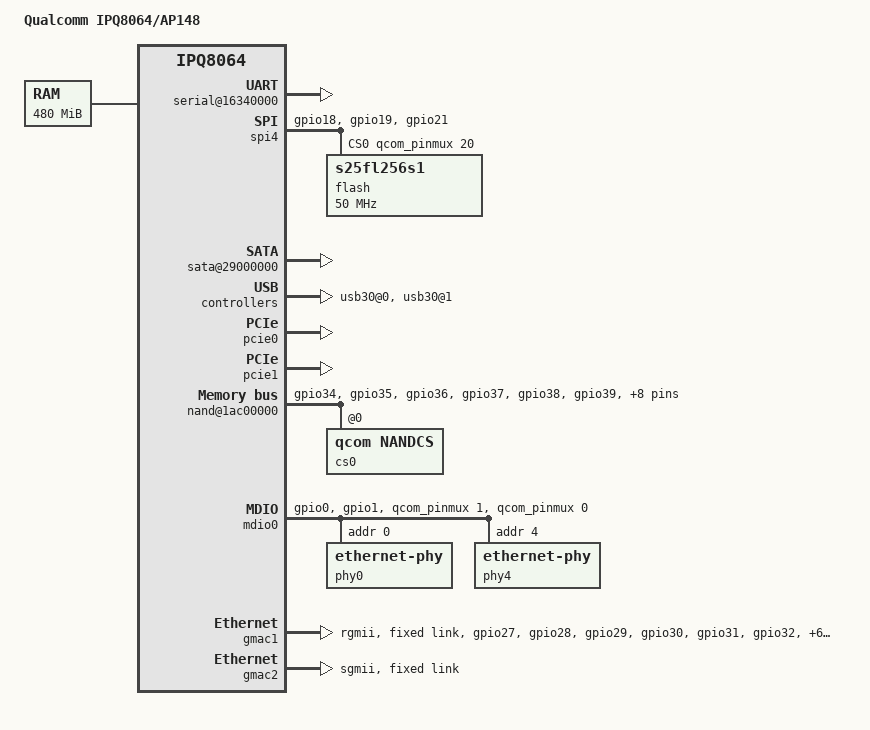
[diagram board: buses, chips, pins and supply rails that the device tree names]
#include "qcom-ipq8064-v1.0.dtsi"

/ {
	model = "Qualcomm IPQ8064/AP148";
	compatible = "qcom,ipq8064-ap148", "qcom,ipq8064";

	memory@0 {
		reg = <0x42000000 0x1e000000>;
		device_type = "memory";
	};

	reserved-memory {
		#address-cells = <1>;
		#size-cells = <1>;
		ranges;
		rsvd@41200000 {
			reg = <0x41200000 0x300000>;
			no-map;
		};
	};

	aliases {
		serial0 = &gsbi4_serial;
		mdio-gpio0 = &mdio0;
	};

	chosen {
		stdout-path = "serial0:115200n8";
	};

	soc {
		pinmux@800000 {
			i2c4_pins: i2c4_pinmux {
				pins = "gpio12", "gpio13";
				function = "gsbi4";
				bias-disable;
			};

			spi_pins: spi_pins {
				mux {
					pins = "gpio18", "gpio19", "gpio21";
					function = "gsbi5";
					drive-strength = <10>;
					bias-none;
				};
			};
			nand_pins: nand_pins {
				mux {
					pins = "gpio34", "gpio35", "gpio36",
					       "gpio37", "gpio38", "gpio39",
					       "gpio40", "gpio41", "gpio42",
					       "gpio43", "gpio44", "gpio45",
					       "gpio46", "gpio47";
					function = "nand";
					drive-strength = <10>;
					bias-disable;
				};
				pullups {
					pins = "gpio39";
					bias-pull-up;
				};
				hold {
					pins = "gpio40", "gpio41", "gpio42",
					       "gpio43", "gpio44", "gpio45",
					       "gpio46", "gpio47";
					bias-bus-hold;
				};
			};

			mdio0_pins: mdio0_pins {
				mux {
					pins = "gpio0", "gpio1";
					function = "gpio";
					drive-strength = <8>;
					bias-disable;
				};
			};

			rgmii2_pins: rgmii2_pins {
				mux {
					pins = "gpio27", "gpio28", "gpio29", "gpio30", "gpio31", "gpio32",
					       "gpio51", "gpio52", "gpio59", "gpio60", "gpio61", "gpio62" ;
					function = "rgmii2";
					drive-strength = <8>;
					bias-disable;
				};
			};
		};

		gsbi@16300000 {
			qcom,mode = <GSBI_PROT_I2C_UART>;
			status = "ok";
			serial@16340000 {
				status = "ok";
			};

			/*
			* The i2c device on gsbi4 should not be enabled.
			* On ipq806x designs gsbi4 i2c is meant for exclusive
			* RPM usage. Turning this on in kernel manifests as
			* i2c failure for the RPM.
			*/
		};

		gsbi5: gsbi@1a200000 {
			qcom,mode = <GSBI_PROT_SPI>;
			status = "ok";

			spi4: spi@1a280000 {
				status = "ok";
				spi-max-frequency = <50000000>;

				pinctrl-0 = <&spi_pins>;
				pinctrl-names = "default";

				cs-gpios = <&qcom_pinmux 20 0>;

				flash: m25p80@0 {
					compatible = "s25fl256s1";
					#address-cells = <1>;
					#size-cells = <1>;
					spi-max-frequency = <50000000>;
					reg = <0>;

					partitions {
						compatible = "qcom,smem";
					};
				};
			};
		};

		sata-phy@1b400000 {
			status = "ok";
		};

		sata@29000000 {
			status = "ok";
		};

		phy@100f8800 {		/* USB3 port 1 HS phy */
			status = "ok";
		};

		phy@100f8830 {		/* USB3 port 1 SS phy */
			status = "ok";
		};

		phy@110f8800 {		/* USB3 port 0 HS phy */
			status = "ok";
		};

		phy@110f8830 {		/* USB3 port 0 SS phy */
			status = "ok";
		};

		usb30@0 {
			status = "ok";
		};

		usb30@1 {
			status = "ok";
		};

		pcie0: pci@1b500000 {
			status = "ok";
		};

		pcie1: pci@1b700000 {
			status = "ok";
			force_gen1 = <1>;
		};

		nand@1ac00000 {
			status = "ok";

			pinctrl-0 = <&nand_pins>;
			pinctrl-names = "default";

			cs0 {
				reg = <0>;
				compatible = "qcom,nandcs";

				nand-ecc-strength = <4>;
				nand-bus-width = <8>;
				nand-ecc-step-size = <512>;

				partitions {
					compatible = "qcom,smem";
				};
			};
		};

		mdio0: mdio {
			compatible = "virtual,mdio-gpio";
			#address-cells = <1>;
			#size-cells = <0>;
			gpios = <&qcom_pinmux 1 0 &qcom_pinmux 0 0>;
			pinctrl-0 = <&mdio0_pins>;
			pinctrl-names = "default";

			phy0: ethernet-phy@0 {
				reg = <0>;
				qca,ar8327-initvals = <
					0x00004 0x7600000   /* PAD0_MODE */
					0x00008 0x1000000   /* PAD5_MODE */
					0x0000c 0x80        /* PAD6_MODE */
					0x000e4 0x6a545     /* MAC_POWER_SEL */
					0x000e0 0xc74164de  /* SGMII_CTRL */
					0x0007c 0x4e        /* PORT0_STATUS */
					0x00094 0x4e        /* PORT6_STATUS */
					>;
			};

			phy4: ethernet-phy@4 {
				reg = <4>;
			};
		};

		gmac1: ethernet@37200000 {
			status = "ok";
			phy-mode = "rgmii";
			qcom,id = <1>;

			pinctrl-0 = <&rgmii2_pins>;
			pinctrl-names = "default";

			fixed-link {
				speed = <1000>;
				full-duplex;
			};
		};

		gmac2: ethernet@37400000 {
			status = "ok";
			phy-mode = "sgmii";
			qcom,id = <2>;

			fixed-link {
				speed = <1000>;
				full-duplex;
			};
		};
	};
};

&adm_dma {
	status = "ok";
};
